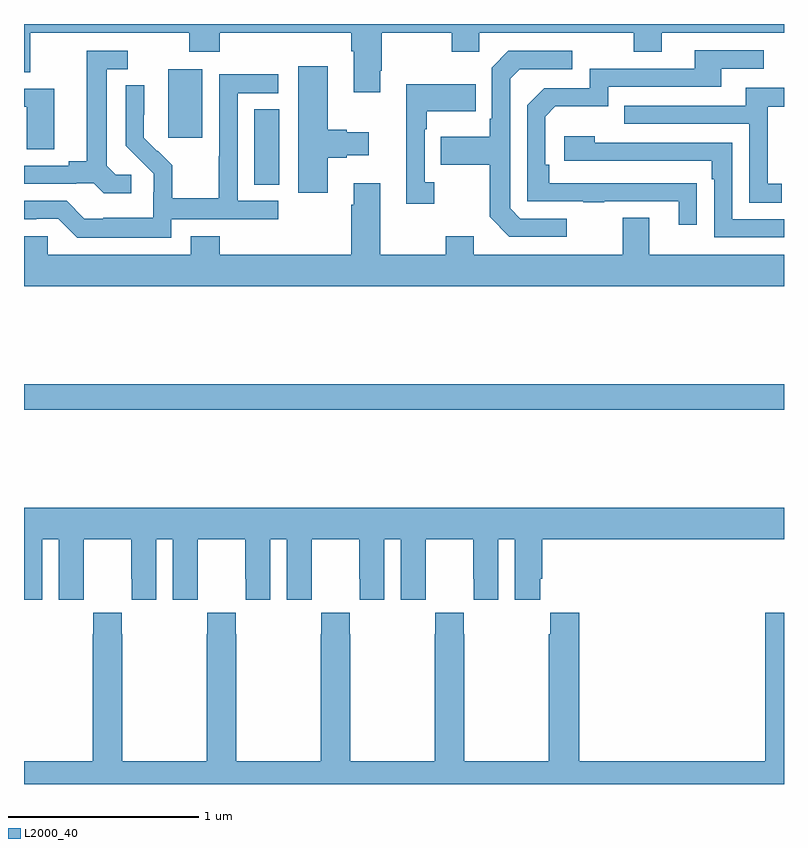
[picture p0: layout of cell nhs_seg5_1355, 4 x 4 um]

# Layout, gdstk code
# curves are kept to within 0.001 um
import gdstk
lib = gdstk.Library(unit=1e-6, precision=1e-09)
def R(c, l, rs):  # rectangles x0, y0, x1, y1
    for r in rs: c.add(gdstk.rectangle(r[:2], r[2:], *l))
def P(c, l, *ps):  # polygons
    for p in ps: c.add(gdstk.Polygon(p, *l))
L2000_40 = (2000, 40)

nhs_seg5_1355 = lib.new_cell('nhs_seg5_1355')
R(nhs_seg5_1355, L2000_40, [(193,862.768,197,862.904), (194.213,863.953,194.344,864.35), (193.76,864.201,193.939,864.562)])
P(nhs_seg5_1355, L2000_40, [(193,864.544),(193.033,864.544),(193.033,864.752),(193.87,864.752),(193.87,864.653),(194.03,864.653),(194.03,864.752),(194.723,864.752),(194.723,864.656),(194.735,864.656),(194.735,864.441),(194.875,864.441),(194.875,864.553),(194.883,864.553),(194.883,864.752),(195.25,864.752),(195.25,864.653),(195.396,864.653),(195.396,864.752),(196.21,864.752),(196.21,864.653),(196.357,864.653),(196.357,864.752),(197,864.752),(197,864.799),(193,864.799)],
  [(196.541,863.96),(195.764,863.961),(195.764,864.058),(195.744,864.058),(195.744,864.312),(195.797,864.365),(196.074,864.365),(196.074,864.468),(196.669,864.468),(196.669,864.564),(196.894,864.564),(196.894,864.66),(196.529,864.66),(196.529,864.564),(195.978,864.564),(195.978,864.462),(195.738,864.462),(195.648,864.372),(195.648,863.865),(195.943,863.865),(195.943,863.86),(196.055,863.86),(196.055,863.865),(196.445,863.865),(196.445,863.742),(196.541,863.742)],
  [(195.856,863.775),(195.612,863.775),(195.558,863.829),(195.558,864.51),(195.609,864.561),(195.886,864.561),(195.886,864.657),(195.549,864.657),(195.462,864.57),(195.462,864.301),(195.45,864.301),(195.45,864.205),(195.193,864.205),(195.193,864.058),(195.45,864.058),(195.45,863.785),(195.555,863.679),(195.856,863.679)],
  [(193.564,864.006),(193.482,864.006),(193.435,864.053),(193.435,864.561),(193.546,864.561),(193.546,864.657),(193.331,864.657),(193.331,864.077),(193.235,864.077),(193.235,864.054),(193,864.054),(193,863.958),(193.274,863.958),(193.274,863.961),(193.368,863.961),(193.42,863.909),(193.564,863.909)],
  [(194.599,864.095),(194.699,864.095),(194.699,864.107),(194.815,864.107),(194.815,864.229),(194.699,864.229),(194.699,864.242),(194.599,864.242),(194.599,864.577),(194.444,864.577),(194.444,863.91),(194.599,863.91)],
  [(193.776,863.772),(194.338,863.772),(194.338,863.868),(194.124,863.868),(194.124,864.435),(194.338,864.435),(194.338,864.534),(194.028,864.534),(194.028,864.104),(194.026,864.104),(194.026,863.881),(193.781,863.881),(193.781,864.055),(193.704,864.132),(193.701,864.129),(193.631,864.2),(193.632,864.476),(193.536,864.476),(193.536,864.158),(193.682,864.01),(193.682,863.913),(193.68,863.913),(193.68,863.779),(193.417,863.779),(193.417,863.775),(193.317,863.775),(193.224,863.868),(193,863.868),(193,863.772),(193.064,863.772),(193.064,863.775),(193.179,863.775),(193.279,863.675),(193.776,863.675)],
  [(195.16,863.966),(195.108,863.966),(195.108,864.245),(195.121,864.245),(195.121,864.341),(195.377,864.341),(195.377,864.481),(195.011,864.481),(195.011,863.853),(195.16,863.853)],
  [(196.987,863.958),(196.914,863.958),(196.914,864.363),(197,864.363),(197,864.463),(196.799,864.463),(196.799,864.369),(196.159,864.369),(196.159,864.273),(196.818,864.273),(196.818,863.857),(196.987,863.857)],
  [(193.159,864.459),(193,864.459),(193,864.363),(193.014,864.363),(193.014,864.139),(193.159,864.139)],
  [(197,863.772),(196.728,863.772),(196.728,864.174),(196.004,864.174),(196.004,864.208),(195.843,864.208),(195.843,864.078),(196.619,864.078),(196.619,863.981),(196.632,863.981),(196.632,863.676),(197,863.676)],
  [(197,863.584),(196.291,863.584),(196.291,863.779),(196.151,863.779),(196.151,863.584),(195.367,863.584),(195.367,863.683),(195.22,863.683),(195.22,863.584),(194.875,863.584),(194.875,863.962),(194.735,863.962),(194.735,863.849),(194.723,863.849),(194.723,863.584),(194.03,863.584),(194.03,863.683),(193.877,863.683),(193.877,863.584),(193.125,863.584),(193.125,863.682),(193,863.682),(193,863.42),(197,863.42)],
  [(193.096,862.088),(193.184,862.088),(193.184,861.768),(193.314,861.768),(193.314,861.88),(193.315,861.88),(193.315,862.088),(193.565,862.088),(193.565,861.88),(193.566,861.88),(193.566,861.768),(193.696,861.768),(193.696,862.088),(193.784,862.088),(193.784,861.768),(193.914,861.768),(193.914,861.88),(193.915,861.88),(193.915,862.088),(194.165,862.088),(194.165,861.88),(194.166,861.88),(194.166,861.768),(194.296,861.768),(194.296,862.088),(194.384,862.088),(194.384,861.768),(194.514,861.768),(194.514,861.88),(194.515,861.88),(194.515,862.088),(194.765,862.088),(194.765,861.88),(194.766,861.88),(194.766,861.768),(194.896,861.768),(194.896,862.088),(194.984,862.088),(194.984,861.768),(195.114,861.768),(195.114,861.88),(195.115,861.88),(195.115,862.088),(195.365,862.088),(195.365,861.88),(195.366,861.88),(195.366,861.768),(195.496,861.768),(195.496,862.088),(195.584,862.088),(195.584,861.768),(195.718,861.768),(195.718,861.88),(195.728,861.88),(195.728,862.088),(197,862.088),(197,862.252),(193,862.252),(193,861.768),(193.096,861.768)],
  [(197,861.7),(196.901,861.7),(196.901,860.92),(195.923,860.92),(195.923,861.7),(195.769,861.7),(195.769,861.587),(195.763,861.587),(195.763,860.92),(195.318,860.92),(195.318,861.587),(195.315,861.587),(195.315,861.7),(195.165,861.7),(195.165,861.587),(195.163,861.587),(195.163,860.92),(194.718,860.92),(194.718,861.587),(194.715,861.587),(194.715,861.7),(194.565,861.7),(194.565,861.587),(194.563,861.587),(194.563,860.92),(194.118,860.92),(194.118,861.587),(194.115,861.587),(194.115,861.7),(193.965,861.7),(193.965,861.587),(193.963,861.587),(193.963,860.92),(193.518,860.92),(193.518,861.587),(193.515,861.587),(193.515,861.7),(193.365,861.7),(193.365,861.587),(193.363,861.587),(193.363,860.92),(193,860.92),(193,860.799),(197,860.799)])

lib.write_gds('nhs_seg5_1355.gds')
